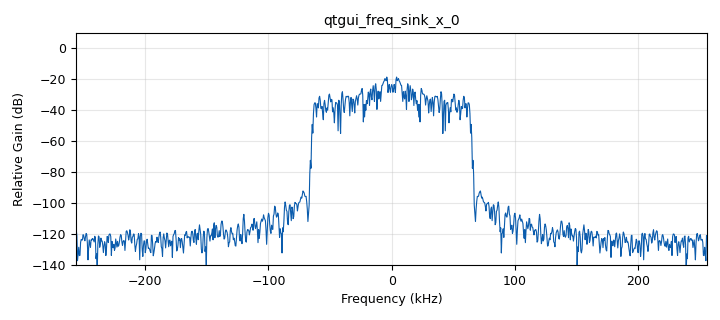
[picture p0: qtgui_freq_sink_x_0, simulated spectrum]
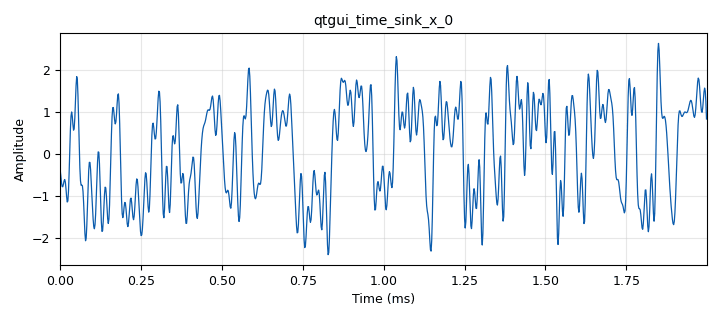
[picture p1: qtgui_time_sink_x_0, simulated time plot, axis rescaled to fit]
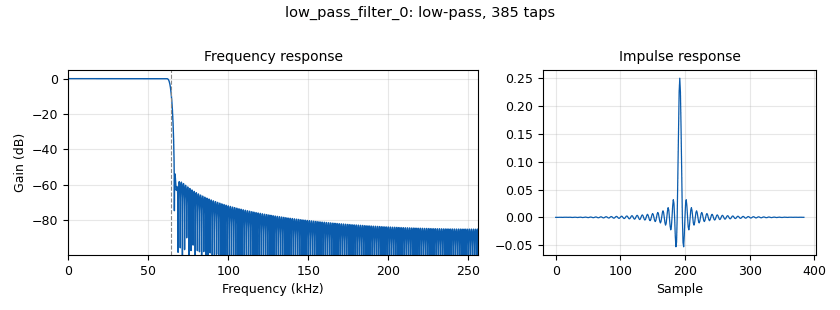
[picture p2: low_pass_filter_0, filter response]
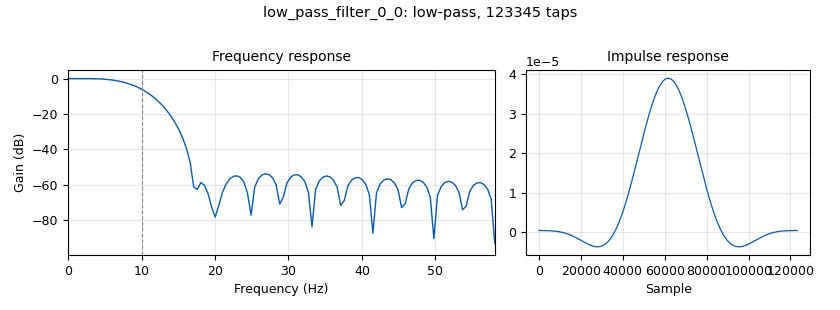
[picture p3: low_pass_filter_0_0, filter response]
<?xml version='1.0' encoding='utf-8'?>
<?grc format='1' created='3.7.11'?>
<flow_graph>
<block>
<key>options</key>
<param><key>id</key><value>top_block</value></param>
<param><key>generate_options</key><value>qt_gui</value></param>
</block>
<block>
<key>variable_qtgui_range</key>
<param><key>id</key><value>A_noise</value></param>
<param><key>value</key><value>0.98</value></param>
<param><key>orient</key><value>Qt.Horizontal</value></param>
<param><key>start</key><value>0.01</value></param>
<param><key>step</key><value>0.01</value></param>
<param><key>stop</key><value>5</value></param>
</block>
<block>
<key>variable</key>
<param><key>id</key><value>Fb</value></param>
<param><key>value</key><value>32000</value></param>
</block>
<block>
<key>variable</key>
<param><key>id</key><value>fl</value></param>
<param><key>value</key><value>0.5*k * Fb</value></param>
</block>
<block>
<key>variable_qtgui_range</key>
<param><key>id</key><value>fl_divided_by_FB</value></param>
<param><key>value</key><value>2</value></param>
<param><key>orient</key><value>Qt.Horizontal</value></param>
<param><key>start</key><value>0</value></param>
<param><key>step</key><value>0.5</value></param>
<param><key>stop</key><value>8</value></param>
</block>
<block>
<key>variable_qtgui_range</key>
<param><key>id</key><value>k</value></param>
<param><key>value</key><value>4</value></param>
<param><key>orient</key><value>Qt.Horizontal</value></param>
<param><key>start</key><value>1</value></param>
<param><key>step</key><value>1</value></param>
<param><key>stop</key><value>sps</value></param>
</block>
<block>
<key>variable</key>
<param><key>id</key><value>pparms</value></param>
<param><key>value</key><value>[0.0003125, 0]</value></param>
</block>
<block>
<key>variable</key>
<param><key>id</key><value>ptype</value></param>
<param><key>value</key><value>'rect'</value></param>
</block>
<block>
<key>variable</key>
<param><key>id</key><value>samp_rate</value></param>
<param><key>value</key><value>512000</value></param>
</block>
<block>
<key>variable</key>
<param><key>id</key><value>sps</value></param>
<param><key>value</key><value>16</value></param>
</block>
<block>
<key>epy_module</key>
<param><key>id</key><value>PAM</value></param>
<param><key>source_code</key><value># this module will be imported in the into your flowgraph



# this module will be imported in the into your flowgraph
# File: pamfun.py 
# Functions for pulse amplitude modulation (PAM) import numpy as np import comsig
import numpy as np

def pam10(sps, ptype, pparms=[]): 
     
    # ***** Set up PAM pulse p(t) ***** 
    ptype = ptype.lower() # Convert ptype to lowercase
                          # Set left/right limits for p(t) 
    if (ptype=="rect"): 
        kL = -0.5; kR = -kL 
    else: 
        kL = -1.0; kR = -kL # Default left/right limits 
    
    ixpL = int(np.ceil(sps*kL)) # Left index for p(t) time axis 
    ixpR = int(np.ceil(sps*kR)) # Right index for p(t) time axis 
    ttp = np.arange(ixpL,ixpR) # Time axis for p(t) 
    pt = np.zeros(len(ttp)) # Initialize pulse p(t) 
    if (ptype=="rect"): # Rectangular p(t) 
        pt = np.ones(len(ttp))
    elif (ptype == "tri"):
	    pt = np.array([(1+i/sps) if i/sps+1 &lt; 1.0 else (1-i/sps) for i in list(ttp)]) 
    elif (ptype=="sinc"):
        k=pparms[0]
        kL = -1.0*k
        kR = -kL
        ixpL = int(np.ceil(sps*kL)) 		# Left index for p(t) time axis
        ixpR = int(np.ceil(sps*kR))		# Right index for p(t) time axis
        ttp = np.arange(ixpL,ixpR)	 # Time axis for p(t)
        pt = np.zeros(len(ttp))
        beta=pparms[1]
        pt = np.array([np.sin(np.pi*t/sps)/(np.pi*t/sps) if t!= 0  else  1.0 for t in list(ttp)])
        pt=pt*np.kaiser(len(pt), beta)
    elif (ptype=="man"):
        ix = np.where(np.logical_and(ttp&gt;=kL*sps, ttp&lt;=kR*sps))[0]
        pt[ix] = np.ones(len(ix))
        pt[ix] = np.concatenate([-1*np.ones(int(len(ix)/2)),np.ones(len(pt)-int(len(pt)/2))])
        #for i in ix:
            #print(pt[i])
    
    elif (ptype=='rcf'):
        k= pparms[0]
        alpha=pparms[1]
        kL = -k; kR = -kL
        ixpL = np.ceil(sps*kL)		# Left index for p(t) time axis
        ixpR = np.ceil(sps*kR)		# Right index for p(t) time axis
        ttp = np.arange(ixpL,ixpR)/float(sps)	 # Time axis for p(t)
        pt = []
        
        for t in ttp:
            num = (np.sin(np.pi*t))*(np.cos(np.pi*alpha*t))
            denum =(np.pi*t)*(1-np.power(2*alpha*t,2))
            rcf_t = np.divide(num,(float(denum)))
            if denum == 0.0:
                rcf_t = 1
            pt = np.concatenate([pt,[rcf_t]])
    else:
        print("ptype is not recognized")
    # ***** Filter with h(t) = p(t) ***** 
    return(pt)

</value></param>
</block>
<block>
<key>analog_noise_source_x</key>
<param><key>id</key><value>analog_noise_source_x_0</value></param>
<param><key>amp</key><value>A_noise</value></param>
<param><key>noise_type</key><value>analog.GR_GAUSSIAN</value></param>
<param><key>type</key><value>float</value></param>
<param><key>seed</key><value>0</value></param>
</block>
<block>
<key>blocks_add_xx</key>
<param><key>id</key><value>blocks_add_xx_0</value></param>
<param><key>type</key><value>float</value></param>
</block>
<block>
<key>blocks_divide_xx</key>
<param><key>id</key><value>blocks_divide_xx_0</value></param>
<param><key>type</key><value>float</value></param>
</block>
<block>
<key>blocks_multiply_const_vxx</key>
<param><key>id</key><value>blocks_multiply_const_vxx_0</value></param>
<param><key>const</key><value>0.6</value></param>
<param><key>type</key><value>float</value></param>
</block>
<block>
<key>blocks_multiply_xx</key>
<param><key>id</key><value>blocks_multiply_xx_0</value></param>
<param><key>type</key><value>float</value></param>
</block>
<block>
<key>blocks_multiply_xx</key>
<param><key>id</key><value>blocks_multiply_xx_0_0</value></param>
<param><key>type</key><value>float</value></param>
</block>
<block>
<key>blocks_nlog10_ff</key>
<param><key>id</key><value>blocks_nlog10_ff_0</value></param>
<param><key>k</key><value>0</value></param>
<param><key>n</key><value>10</value></param>
</block>
<block>
<key>blocks_throttle</key>
<param><key>id</key><value>blocks_throttle_0</value></param>
<param><key>samples_per_second</key><value>samp_rate</value></param>
<param><key>type</key><value>float</value></param>
</block>
<block>
<key>blocks_wavfile_sink</key>
<param><key>id</key><value>blocks_wavfile_sink_0</value></param>
<param><key>bits_per_sample</key><value>16</value></param>
<param><key>file</key><value>/home/swarupa/Documents/Commlab/LAB5/Test_5db.wav</value></param>
<param><key>samp_rate</key><value>samp_rate</value></param>
</block>
<block>
<key>digital_glfsr_source_x</key>
<param><key>id</key><value>digital_glfsr_source_x_0</value></param>
<param><key>degree</key><value>22</value></param>
<param><key>mask</key><value>0</value></param>
<param><key>repeat</key><value>True</value></param>
<param><key>seed</key><value>1</value></param>
<param><key>type</key><value>float</value></param>
</block>
<block>
<key>interp_fir_filter_xxx</key>
<param><key>id</key><value>interp_fir_filter_xxx_0</value></param>
<param><key>interp</key><value>16</value></param>
<param><key>taps</key><value>PAM.pam10(sps, ptype, pparms)</value></param>
<param><key>type</key><value>fff</value></param>
</block>
<block>
<key>low_pass_filter</key>
<param><key>id</key><value>low_pass_filter_0</value></param>
<param><key>cutoff_freq</key><value>fl</value></param>
<param><key>decim</key><value>1</value></param>
<param><key>type</key><value>fir_filter_fff</value></param>
<param><key>gain</key><value>1</value></param>
<param><key>samp_rate</key><value>samp_rate</value></param>
<param><key>width</key><value>3200</value></param>
<param><key>win</key><value>firdes.WIN_HAMMING</value></param>
</block>
<block>
<key>low_pass_filter</key>
<param><key>id</key><value>low_pass_filter_0_0</value></param>
<param><key>cutoff_freq</key><value>10</value></param>
<param><key>decim</key><value>64</value></param>
<param><key>type</key><value>fir_filter_fff</value></param>
<param><key>gain</key><value>1</value></param>
<param><key>samp_rate</key><value>samp_rate</value></param>
<param><key>width</key><value>10</value></param>
<param><key>win</key><value>firdes.WIN_HAMMING</value></param>
</block>
<block>
<key>low_pass_filter</key>
<param><key>id</key><value>low_pass_filter_0_1</value></param>
<param><key>cutoff_freq</key><value>fl</value></param>
<param><key>decim</key><value>1</value></param>
<param><key>type</key><value>fir_filter_fff</value></param>
<param><key>gain</key><value>1</value></param>
<param><key>samp_rate</key><value>samp_rate</value></param>
<param><key>width</key><value>3200</value></param>
<param><key>win</key><value>firdes.WIN_HAMMING</value></param>
</block>
<block>
<key>low_pass_filter</key>
<param><key>id</key><value>low_pass_filter_0_2</value></param>
<param><key>cutoff_freq</key><value>10</value></param>
<param><key>decim</key><value>64</value></param>
<param><key>type</key><value>fir_filter_fff</value></param>
<param><key>gain</key><value>1</value></param>
<param><key>samp_rate</key><value>samp_rate</value></param>
<param><key>width</key><value>10</value></param>
<param><key>win</key><value>firdes.WIN_HAMMING</value></param>
</block>
<block>
<key>qtgui_freq_sink_x</key>
<param><key>id</key><value>qtgui_freq_sink_x_0</value></param>
<param><key>bw</key><value>samp_rate</value></param>
<param><key>fc</key><value>0</value></param>
<param><key>fftsize</key><value>1024</value></param>
<param><key>showports</key><value>True</value></param>
<param><key>type</key><value>float</value></param>
<param><key>wintype</key><value>firdes.WIN_BLACKMAN_hARRIS</value></param>
</block>
<block>
<key>qtgui_number_sink</key>
<param><key>id</key><value>qtgui_number_sink_0</value></param>
<param><key>graph_type</key><value>qtgui.NUM_GRAPH_HORIZ</value></param>
<param><key>type</key><value>float</value></param>
<param><key>name</key><value>"Noise Power"</value></param>
</block>
<block>
<key>qtgui_number_sink</key>
<param><key>id</key><value>qtgui_number_sink_0_0</value></param>
<param><key>graph_type</key><value>qtgui.NUM_GRAPH_HORIZ</value></param>
<param><key>type</key><value>float</value></param>
<param><key>name</key><value>"SNR"</value></param>
</block>
<block>
<key>qtgui_time_sink_x</key>
<param><key>id</key><value>qtgui_time_sink_x_0</value></param>
<param><key>color1</key><value>"blue"</value></param>
<param><key>label1</key><value></value></param>
<param><key>size</key><value>1024</value></param>
<param><key>srate</key><value>samp_rate</value></param>
<param><key>type</key><value>float</value></param>
</block>
<connection><source_block_id>analog_noise_source_x_0</source_block_id><sink_block_id>low_pass_filter_0_1</sink_block_id><source_key>0</source_key><sink_key>0</sink_key></connection>
<connection><source_block_id>blocks_add_xx_0</source_block_id><sink_block_id>blocks_multiply_const_vxx_0</sink_block_id><source_key>0</source_key><sink_key>0</sink_key></connection>
<connection><source_block_id>blocks_add_xx_0</source_block_id><sink_block_id>qtgui_freq_sink_x_0</sink_block_id><source_key>0</source_key><sink_key>0</sink_key></connection>
<connection><source_block_id>blocks_add_xx_0</source_block_id><sink_block_id>qtgui_time_sink_x_0</sink_block_id><source_key>0</source_key><sink_key>0</sink_key></connection>
<connection><source_block_id>blocks_divide_xx_0</source_block_id><sink_block_id>blocks_nlog10_ff_0</sink_block_id><source_key>0</source_key><sink_key>0</sink_key></connection>
<connection><source_block_id>blocks_multiply_const_vxx_0</source_block_id><sink_block_id>blocks_wavfile_sink_0</sink_block_id><source_key>0</source_key><sink_key>0</sink_key></connection>
<connection><source_block_id>blocks_multiply_xx_0</source_block_id><sink_block_id>low_pass_filter_0_0</sink_block_id><source_key>0</source_key><sink_key>0</sink_key></connection>
<connection><source_block_id>blocks_multiply_xx_0_0</source_block_id><sink_block_id>low_pass_filter_0_2</sink_block_id><source_key>0</source_key><sink_key>0</sink_key></connection>
<connection><source_block_id>blocks_nlog10_ff_0</source_block_id><sink_block_id>qtgui_number_sink_0_0</sink_block_id><source_key>0</source_key><sink_key>0</sink_key></connection>
<connection><source_block_id>blocks_throttle_0</source_block_id><sink_block_id>interp_fir_filter_xxx_0</sink_block_id><source_key>0</source_key><sink_key>0</sink_key></connection>
<connection><source_block_id>digital_glfsr_source_x_0</source_block_id><sink_block_id>blocks_throttle_0</sink_block_id><source_key>0</source_key><sink_key>0</sink_key></connection>
<connection><source_block_id>interp_fir_filter_xxx_0</source_block_id><sink_block_id>low_pass_filter_0</sink_block_id><source_key>0</source_key><sink_key>0</sink_key></connection>
<connection><source_block_id>low_pass_filter_0</source_block_id><sink_block_id>blocks_add_xx_0</sink_block_id><source_key>0</source_key><sink_key>0</sink_key></connection>
<connection><source_block_id>low_pass_filter_0</source_block_id><sink_block_id>blocks_multiply_xx_0</sink_block_id><source_key>0</source_key><sink_key>0</sink_key></connection>
<connection><source_block_id>low_pass_filter_0</source_block_id><sink_block_id>blocks_multiply_xx_0</sink_block_id><source_key>0</source_key><sink_key>1</sink_key></connection>
<connection><source_block_id>low_pass_filter_0_0</source_block_id><sink_block_id>blocks_divide_xx_0</sink_block_id><source_key>0</source_key><sink_key>0</sink_key></connection>
<connection><source_block_id>low_pass_filter_0_1</source_block_id><sink_block_id>blocks_add_xx_0</sink_block_id><source_key>0</source_key><sink_key>1</sink_key></connection>
<connection><source_block_id>low_pass_filter_0_1</source_block_id><sink_block_id>blocks_multiply_xx_0_0</sink_block_id><source_key>0</source_key><sink_key>0</sink_key></connection>
<connection><source_block_id>low_pass_filter_0_1</source_block_id><sink_block_id>blocks_multiply_xx_0_0</sink_block_id><source_key>0</source_key><sink_key>1</sink_key></connection>
<connection><source_block_id>low_pass_filter_0_2</source_block_id><sink_block_id>blocks_divide_xx_0</sink_block_id><source_key>0</source_key><sink_key>1</sink_key></connection>
<connection><source_block_id>low_pass_filter_0_2</source_block_id><sink_block_id>qtgui_number_sink_0</sink_block_id><source_key>0</source_key><sink_key>0</sink_key></connection>
</flow_graph>
